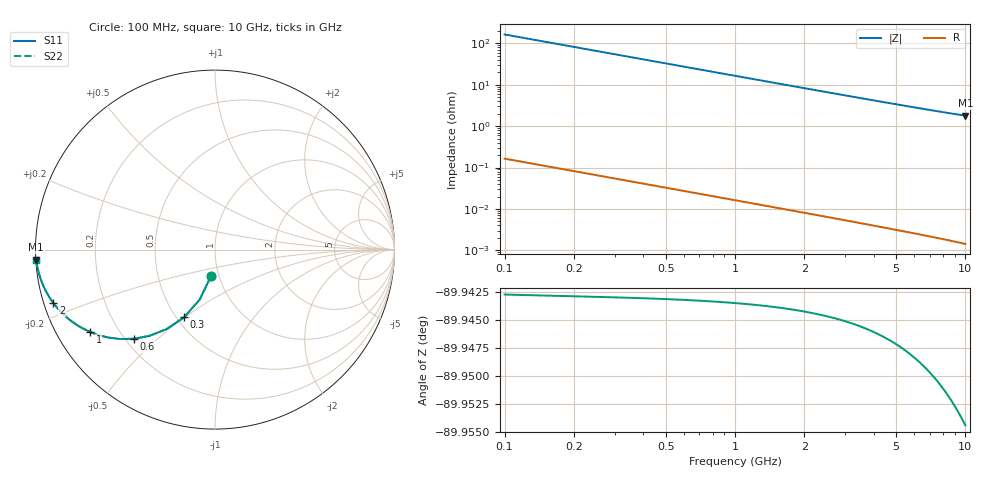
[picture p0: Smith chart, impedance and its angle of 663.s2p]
# Hz S RI R 50.00
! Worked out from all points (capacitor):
!   100 points, 100 MHz to 10 GHz, reference 50 ohm
!   read as one part in shunt: C = 9.66 pF near 100 MHz
!   lowest |Z| = 1.8 ohm at 10 GHz (marker M1)
!   S11 on the Smith chart (normalised r, x): 100 MHz: 0.92, -0.28; 300 MHz: 0.55, -0.50; 600 MHz: 0.23, -0.42; 1 GHz: 0.10, -0.30; 2 GHz: 0.03, -0.16; 10 GHz: 0.00, -0.03
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1e8  -0.0227 -0.1483  0.9773 -0.1484  0.9773 -0.1484  -0.0227 -0.1483
2e8  -0.0846 -0.2777  0.9153 -0.278  0.9153 -0.278  -0.0846 -0.2777
3e8  -0.172 -0.3767  0.828 -0.3771  0.828 -0.3771  -0.172 -0.3767
4e8  -0.2695 -0.4429  0.7305 -0.4435  0.7305 -0.4435  -0.2695 -0.4429
5e8  -0.3654 -0.4807  0.6345 -0.4814  0.6345 -0.4814  -0.3654 -0.4807
6e8  -0.4531 -0.4969  0.5468 -0.4977  0.5468 -0.4977  -0.4531 -0.4969
7e8  -0.5298 -0.4981  0.4701 -0.4991  0.4701 -0.4991  -0.5298 -0.4981
8e8  -0.5953 -0.4898  0.4047 -0.4909  0.4047 -0.4909  -0.5953 -0.4898
9e8  -0.6504 -0.4757  0.3496 -0.477  0.3496 -0.477  -0.6504 -0.4757
1e9  -0.6965 -0.4586  0.3035 -0.46  0.3035 -0.46  -0.6965 -0.4586
1.1e9  -0.7351 -0.44  0.2649 -0.4415  0.2649 -0.4415  -0.7351 -0.44
1.3e9  -0.7947 -0.4025  0.2053 -0.4043  0.2053 -0.4043  -0.7947 -0.4025
1.5e9  -0.8373 -0.3676  0.1627 -0.3696  0.1627 -0.3696  -0.8373 -0.3676
1.8e9  -0.8809 -0.3221  0.1191 -0.3246  0.1191 -0.3246  -0.8809 -0.3221
2e9  -0.9012 -0.2965  0.0988 -0.2992  0.0988 -0.2992  -0.9012 -0.2965
2.7e9  -0.9431 -0.2292  0.0569 -0.233  0.0569 -0.233  -0.9431 -0.2292
3.4e9  -0.9633 -0.1851  0.0367 -0.1899  0.0367 -0.1899  -0.9633 -0.1851
4.2e9  -0.9756 -0.1507  0.0243 -0.1566  0.0243 -0.1566  -0.9756 -0.1507
5.1e9  -0.9834 -0.1237  0.0166 -0.1309  0.0166 -0.1309  -0.9834 -0.1237
6.7e9  -0.9903 -0.0923  0.00959 -0.1019  0.00959 -0.1019  -0.9903 -0.0923
8.4e9  -0.9939 -0.071  0.00602 -0.0832  0.00602 -0.0832  -0.9939 -0.071
1e10  -0.9957 -0.0569  0.00415 -0.0716  0.00415 -0.0716  -0.9957 -0.0569
